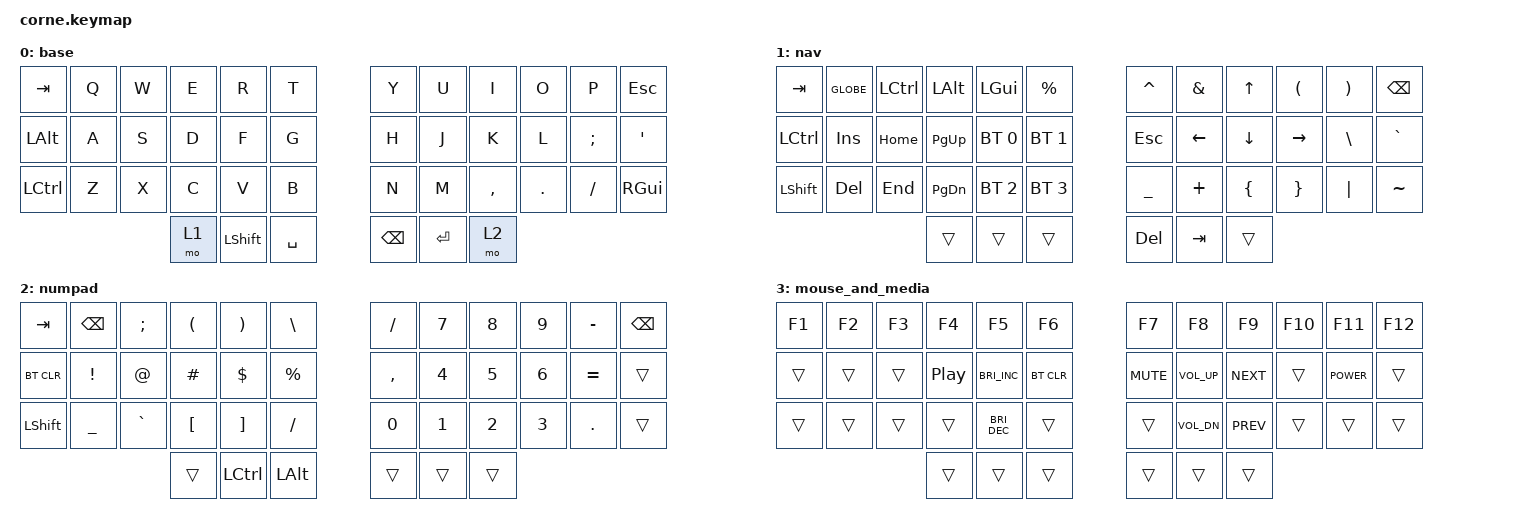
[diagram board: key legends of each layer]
/*
 * Copyright (c) 2020 The ZMK Contributors
 *
 * SPDX-License-Identifier: MIT
 */

#include <behaviors.dtsi>
#include <dt-bindings/zmk/bt.h>
#include <dt-bindings/zmk/keys.h>

/ {
    keymap {
        compatible = "zmk,keymap";

        base_layer {
            // -----------------------------------------------------------------------------------------
            // |  TAB |  Q  |  W  |  E  |  R  |  T  |   |  Y  |  U   |  I  |  O  |  P  | BKSP |
            // | CTRL |  A  |  S  |  D  |  F  |  G  |   |  H  |  J   |  K  |  L  |  ;  |  '   |
            // | SHFT |  Z  |  X  |  C  |  V  |  B  |   |  N  |  M   |  ,  |  .  |  /  | ESC  |
            //                    | GUI | LWR | SPC |   | ENT | RSE  | ALT |

            bindings = <
&kp TAB           &kp Q  &kp W  &kp E  &kp R           &kp T        &kp Y          &kp U    &kp I      &kp O    &kp P     &kp ESCAPE
&kp LEFT_ALT      &kp A  &kp S  &kp D  &kp F           &kp G        &kp H          &kp J    &kp K      &kp L    &kp SEMI  &kp SQT
&kp LEFT_CONTROL  &kp Z  &kp X  &kp C  &kp V           &kp B        &kp N          &kp M    &kp COMMA  &kp DOT  &kp FSLH  &kp RGUI
                                &mo 1  &kp LEFT_SHIFT  &kp SPACE    &kp BACKSPACE  &kp RET  &mo 2
            >;

            label = "base";
        };

        navigation_and_shortcuts {
            // -----------------------------------------------------------------------------------------
            // |  TAB |  !  |  @  |  #  |  $  |  %  |   |  ^  |  &  |  *  |  (  |  )  | BKSP |
            // | CTRL |     |     |     |     |     |   |  -  |  =  |  [  |  ]  |  \  |  `   |
            // | SHFT |     |     |     |     |     |   |  _  |  +  |  {  |  }  | "|" |  ~   |
            //                    | GUI |     | SPC |   | ENT |     | ALT |

            bindings = <
&kp TAB    &kp GLOBE  &kp LEFT_CONTROL  &kp LALT   &kp LGUI      &kp PRCNT       &kp CARET   &kp AMPS  &kp UP    &kp LPAR   &kp RPAR  &kp BSPC
&kp LCTRL  &kp INS    &kp HOME          &kp PG_UP  &bt BT_SEL 0  &bt BT_SEL 1    &kp ESC     &kp LEFT  &kp DOWN  &kp RIGHT  &kp BSLH  &kp GRAVE
&kp LSHFT  &kp DEL    &kp END           &kp PG_DN  &bt BT_SEL 2  &bt BT_SEL 3    &kp UNDER   &kp PLUS  &kp LBRC  &kp RBRC   &kp PIPE  &kp TILDE
                                        &trans     &trans        &trans          &kp DELETE  &kp TAB   &trans
            >;

            label = "nav";
        };

        numpad_and_symbols {
            // -----------------------------------------------------------------------------------------
            // |  TAB |  1  |  2  |  3  |  4  |  5  |   |  6  |  7  |  8  |  9  |  0  | BKSP |
            // | BTCLR| BT1 | BT2 | BT3 | BT4 | BT5 |   | LFT | DWN |  UP | RGT |     |      |
            // | SHFT |     |     |     |     |     |   |     |     |     |     |     |      |
            //                    | GUI |     | SPC |   | ENT |     | ALT |

            bindings = <
&kp TAB     &kp BACKSPACE    &kp SEMICOLON  &kp LEFT_PARENTHESIS  &kp RIGHT_PARENTHESIS  &kp BACKSLASH    &kp SLASH  &kp N7  &kp N8  &kp N9  &kp MINUS   &kp BSPC
&bt BT_CLR  &kp EXCLAMATION  &kp AT         &kp HASH              &kp DOLLAR             &kp PERCENT      &kp COMMA  &kp N4  &kp N5  &kp N6  &kp EQUAL   &trans
&kp LSHFT   &kp UNDERSCORE   &kp GRAVE      &kp LEFT_BRACKET      &kp RIGHT_BRACKET      &kp SLASH        &kp N0     &kp N1  &kp N2  &kp N3  &kp PERIOD  &trans
                                            &trans                &kp LEFT_CONTROL       &kp LEFT_ALT     &trans     &trans  &trans
            >;

            label = "numpad";
        };

        mouse_and_media {
            bindings = <
&kp F1  &kp F2  &kp F3  &kp F4            &kp F5                &kp F6        &kp F7      &kp F8        &kp F9      &kp F10  &kp F11      &kp F12
&trans  &trans  &trans  &kp C_PLAY_PAUSE  &kp C_BRIGHTNESS_INC  &bt BT_CLR    &kp C_MUTE  &kp C_VOL_UP  &kp C_NEXT  &trans   &kp C_POWER  &trans
&trans  &trans  &trans  &trans            &kp C_BRIGHTNESS_DEC  &trans        &trans      &kp C_VOL_DN  &kp C_PREV  &trans   &trans       &trans
                        &trans            &trans                &trans        &trans      &trans        &trans
            >;
        };
    };

    conditional_layers {
        compatible = "zmk,conditional-layers";

        mouse_and_media_activate {
            if-layers = <1 2>;
            then-layer = <3>;
        };
    };
};
